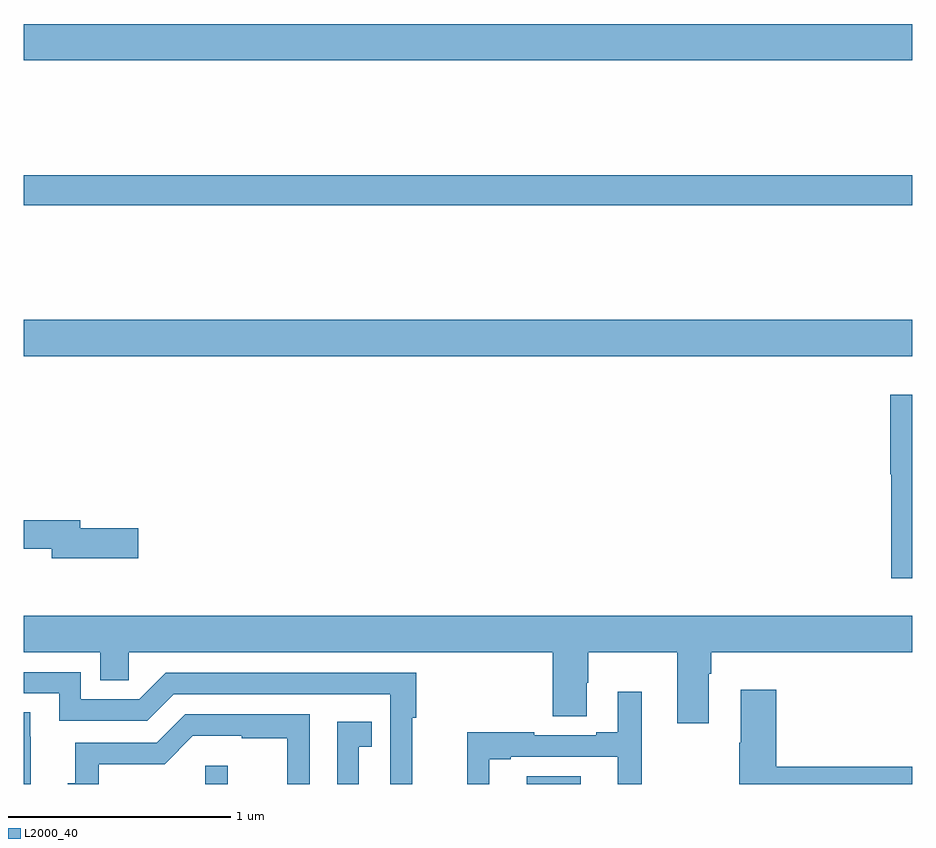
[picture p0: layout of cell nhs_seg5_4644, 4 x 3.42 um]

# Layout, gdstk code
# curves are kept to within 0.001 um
import gdstk
lib = gdstk.Library(unit=1e-6, precision=1e-09)
def R(c, l, rs):  # rectangles x0, y0, x1, y1
    for r in rs: c.add(gdstk.rectangle(r[:2], r[2:], *l))
def P(c, l, *ps):  # polygons
    for p in ps: c.add(gdstk.Polygon(p, *l))
L2000_40 = (2000, 40)

nhs_seg5_4644 = lib.new_cell('nhs_seg5_4644')
R(nhs_seg5_4644, L2000_40, [(383.817,890.799,383.918,890.881), (385.265,890.799,385.507,890.833), (383,892.724,387,892.888), (383,893.404,387,893.54), (383,894.056,387,894.22)])
P(nhs_seg5_4644, L2000_40, [(387,892.552),(386.9,892.552),(386.9,892.194),(386.906,892.194),(386.906,891.726),(387,891.726)],
  [(383.515,891.95),(383.254,891.95),(383.254,891.986),(383,891.986),(383,891.858),(383.126,891.858),(383.126,891.815),(383.515,891.815)],
  [(386.083,891.296),(386.096,891.296),(386.096,891.392),(387,891.392),(387,891.556),(383,891.556),(383,891.392),(383.345,891.392),(383.345,891.265),(383.472,891.265),(383.472,891.392),(385.382,891.392),(385.382,891.103),(385.534,891.103),(385.534,891.254),(385.542,891.254),(385.542,891.392),(385.943,891.392),(385.943,891.072),(386.083,891.072)],
  [(384.75,891.097),(384.767,891.097),(384.767,891.3),(383.64,891.3),(383.52,891.18),(383.256,891.18),(383.256,891.303),(383,891.303),(383,891.207),(383.16,891.207),(383.16,891.084),(383.556,891.084),(383.676,891.204),(384.651,891.204),(384.65,890.799),(384.75,890.799)],
  [(387,890.876),(386.387,890.876),(386.387,891.223),(386.228,891.223),(386.228,890.984),(386.221,890.984),(386.221,890.799),(387,890.799)],
  [(385.096,890.91),(385.192,890.91),(385.192,890.922),(385.673,890.922),(385.673,890.799),(385.783,890.799),(385.783,891.214),(385.673,891.214),(385.673,891.031),(385.577,891.031),(385.577,891.018),(385.298,891.018),(385.298,891.031),(384.997,891.031),(384.997,890.799),(385.096,890.799)],
  [(383.032,891.011),(383.03,891.011),(383.03,891.122),(383,891.122),(383,890.799),(383.032,890.799)],
  [(383.338,890.889),(383.634,890.889),(383.762,891.017),(383.981,891.017),(383.981,891.006),(384.187,891.006),(384.187,890.799),(384.288,890.799),(384.288,891.114),(383.727,891.114),(383.598,890.985),(383.231,890.985),(383.231,890.802),(383.198,890.802),(383.198,890.799),(383.338,890.799)],
  [(384.508,890.966),(384.566,890.966),(384.566,891.079),(384.411,891.079),(384.411,890.799),(384.508,890.799)])

lib.write_gds('nhs_seg5_4644.gds')
